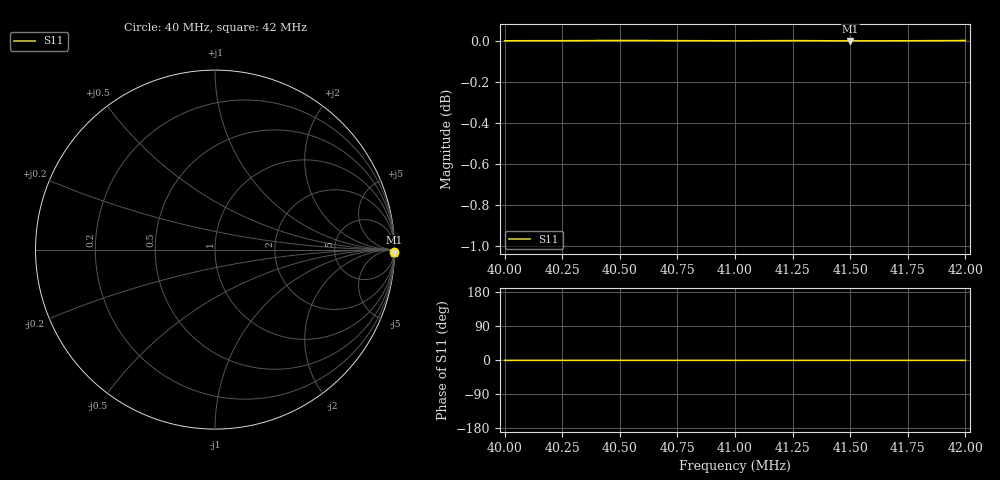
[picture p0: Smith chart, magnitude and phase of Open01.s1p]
# Hz S RI R 50
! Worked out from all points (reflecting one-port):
!   9 points, 40 MHz to 42 MHz, reference 50 ohm
!   lowest |S11| = 0.0 dB at 41.5 MHz (marker M1)
!   phase of S11 starts at -1 deg and turns -0 deg over the sweep
4e7  0.9998 -0.0159
4.025e7  0.9998 -0.0159
4.05e7  0.9999 -0.016
4.075e7  0.9998 -0.0161
4.1e7  0.9997 -0.0162
4.125e7  0.9998 -0.0163
4.15e7  0.9997 -0.0164
4.175e7  0.9998 -0.0166
4.2e7  0.9999 -0.0167
